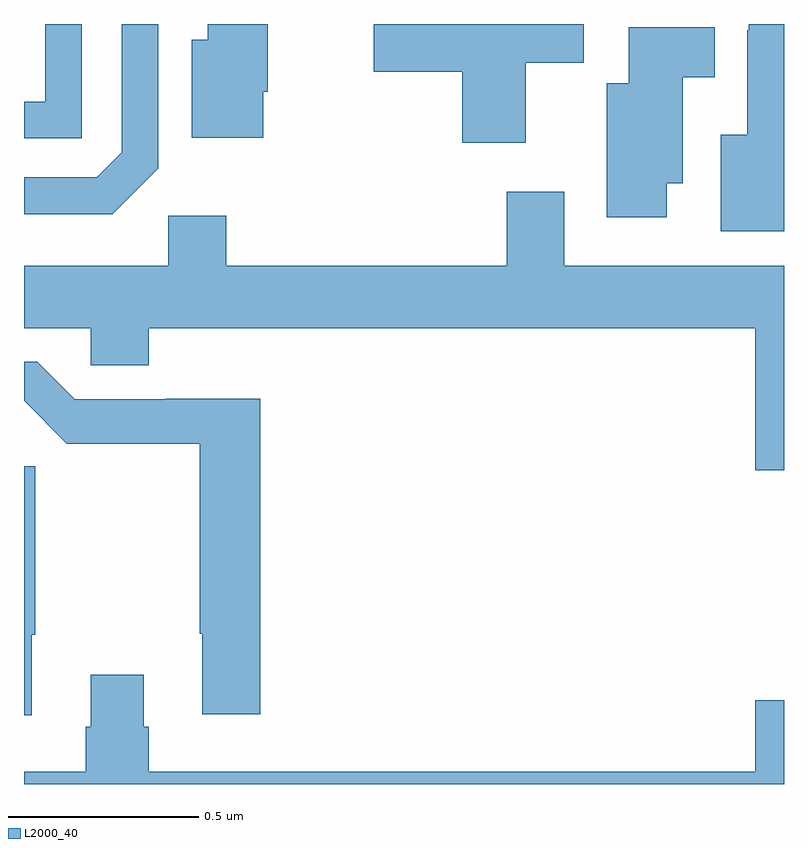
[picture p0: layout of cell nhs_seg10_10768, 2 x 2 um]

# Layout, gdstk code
import gdstk
lib = gdstk.Library(unit=1e-6, precision=1e-09)
def P(c, l, *ps):  # polygons
    for p in ps: c.add(gdstk.Polygon(p, *l))
L2000_40 = (2000, 40)

nhs_seg10_10768 = lib.new_cell('nhs_seg10_10768')
P(nhs_seg10_10768, L2000_40, [(249,1250.5),(248.907,1250.5),(248.907,1250.483),(248.903,1250.483),(248.903,1250.209),(248.834,1250.209),(248.834,1249.955),(249,1249.955)],
  [(247.152,1250.5),(247.056,1250.5),(247.056,1250.295),(247,1250.295),(247,1250.199),(247.152,1250.199)],
  [(247.353,1250.121),(247.353,1250.5),(247.257,1250.5),(247.257,1250.163),(247.191,1250.097),(247,1250.097),(247,1250),(247.232,1250)],
  [(248.32,1250.398),(248.473,1250.398),(248.473,1250.5),(247.92,1250.5),(247.92,1250.375),(248.153,1250.375),(248.153,1250.187),(248.32,1250.187)],
  [(247.63,1250.322),(247.642,1250.322),(247.642,1250.5),(247.484,1250.5),(247.484,1250.458),(247.442,1250.458),(247.442,1250.201),(247.63,1250.201)],
  [(248.692,1250.081),(248.734,1250.081),(248.734,1250.36),(248.818,1250.36),(248.818,1250.491),(248.591,1250.491),(248.591,1250.344),(248.534,1250.344),(248.534,1249.992),(248.692,1249.992)],
  [(249,1249.864),(248.422,1249.864),(248.422,1250.059),(248.27,1250.059),(248.27,1249.864),(247.532,1249.864),(247.532,1249.996),(247.38,1249.996),(247.38,1249.864),(247,1249.864),(247,1249.7),(247.176,1249.7),(247.176,1249.602),(247.328,1249.602),(247.328,1249.7),(248.924,1249.7),(248.924,1249.326),(249,1249.326)],
  [(247.622,1249.514),(247.373,1249.514),(247.373,1249.512),(247.134,1249.512),(247.035,1249.611),(247,1249.611),(247,1249.508),(247.112,1249.396),(247.462,1249.396),(247.462,1248.896),(247.469,1248.896),(247.469,1248.684),(247.622,1248.684)],
  [(247.021,1248.893),(247.029,1248.893),(247.029,1249.336),(247,1249.336),(247,1248.681),(247.021,1248.681)],
  [(249,1248.721),(248.924,1248.721),(248.924,1248.532),(247.328,1248.532),(247.328,1248.651),(247.315,1248.651),(247.315,1248.787),(247.175,1248.787),(247.175,1248.651),(247.163,1248.651),(247.163,1248.532),(247,1248.532),(247,1248.5),(249,1248.5)])

lib.write_gds('nhs_seg10_10768.gds')
